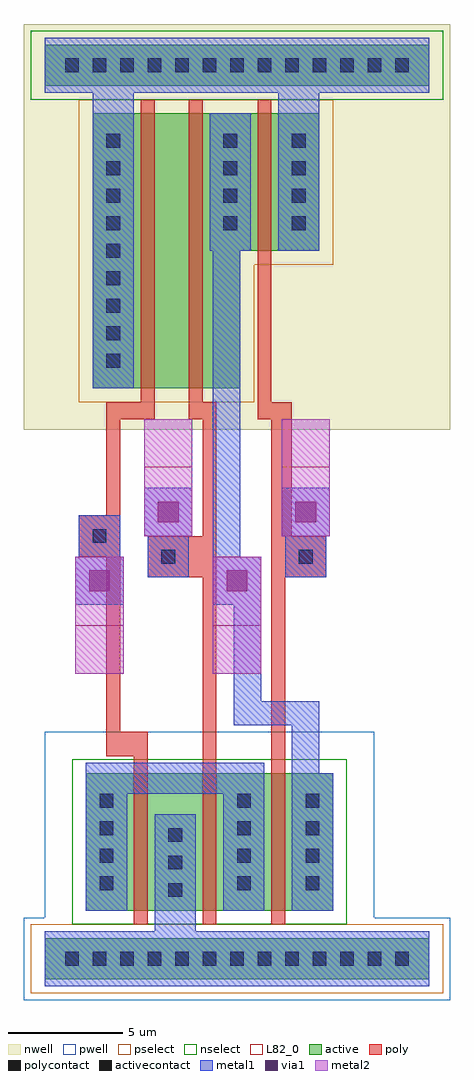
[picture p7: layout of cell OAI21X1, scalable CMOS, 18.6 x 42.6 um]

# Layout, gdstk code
import gdstk
lib = gdstk.Library(unit=1e-6, precision=1e-09)
def R(c, l, rs):  # rectangles x0, y0, x1, y1
    for r in rs: c.add(gdstk.rectangle(r[:2], r[2:], *l))
def A(c, l, x, y, w, h, nx, ny, dx, dy):  # array of equal rectangles
    R(c, l, [(x+i*dx, y+j*dy, x+i*dx+w, y+j*dy+h) for i in range(nx) for j in range(ny)])
pwell = (41, 0)
nwell = (42, 0)
active = (43, 0)
pselect = (44, 0)
nselect = (45, 0)
poly = (46, 0)
polycontact = (47, 0)
activecontact = (48, 0)
metal1 = (49, 0)
via1 = (50, 0)
metal2 = (51, 0)
L82_0 = (82, 0)

oai21x1 = lib.new_cell('OAI21X1')
R(oai21x1, pwell, [(-1.8,-1.8,16.8,1.8), (-0.9,1.8,13.5,9.9)])
R(oai21x1, nwell, [(-1.8,23.1,16.8,40.8)])
R(oai21x1, active, [(-0.9,-0.9,15.9,0.9), (0.9,2.1,11.7,8.1), (1.2,24.9,7.65,30.9), (1.2,30.9,11.1,36.9), (-0.9,38.1,15.9,39.9)])
R(oai21x1, pselect, [(-1.5,-1.5,16.5,1.5), (0.6,24.3,8.25,30.3), (0.6,30.3,11.7,37.5)])
R(oai21x1, nselect, [(0.3,1.5,12.3,8.7), (-1.5,37.5,16.5,40.5)])
R(oai21x1, poly, [(3,1.5,3.6,8.85), (6,1.5,6.6,16.65), (9,1.5,9.6,16.65), (1.8,8.85,3.6,9.9), (1.8,9.9,2.4,17.55), (3.6,16.65,6.6,18.45), (9,16.65,11.4,18.45), (0.6,17.55,2.4,19.35), (6,18.45,6.6,23.55), (9,18.45,9.9,23.55), (1.8,19.35,2.4,23.55), (1.8,23.55,3.9,24.3), (5.4,23.55,6.6,24.3), (8.4,23.55,9.9,24.3), (3.3,24.3,3.9,37.5), (5.4,24.3,6,37.5), (8.4,24.3,9,37.5)])
R(oai21x1, polycontact, [(4.2,17.25,4.8,17.85), (10.2,17.25,10.8,17.85), (1.2,18.15,1.8,18.75)])
A(oai21x1, activecontact, 0, -0.3, 0.6, 0.6, 13, 2, 1.2, 39)
A(oai21x1, activecontact, 4.5, 2.7, 0.6, 0.6, 1, 3, 0, 1.2)
A(oai21x1, activecontact, 1.5, 3, 0.6, 0.6, 1, 4, 0, 1.2)
A(oai21x1, activecontact, 7.5, 3, 0.6, 0.6, 1, 4, 0, 1.2)
A(oai21x1, activecontact, 10.5, 3, 0.6, 0.6, 1, 4, 0, 1.2)
A(oai21x1, activecontact, 1.8, 25.8, 0.6, 0.6, 1, 9, 0, 1.2)
A(oai21x1, activecontact, 6.9, 31.8, 0.6, 0.6, 1, 4, 0, 1.2)
A(oai21x1, activecontact, 9.9, 31.8, 0.6, 0.6, 1, 4, 0, 1.2)
R(oai21x1, metal1, [(-0.9,-1.2,15.9,1.2), (3.9,1.2,5.7,6.3), (0.9,2.1,2.7,7.2), (6.9,2.1,8.7,7.2), (9.9,2.1,11.7,8.1), (0.9,7.2,8.7,8.55), (9.9,8.1,11.1,10.2), (7.35,10.2,11.1,11.25), (7.35,11.25,8.55,15.45), (0.45,15.45,2.55,17.55), (6.45,15.45,8.55,17.55), (3.6,16.65,5.4,18.45), (9.6,16.65,11.4,18.45), (0.6,17.55,2.4,19.35), (6.45,17.55,7.65,30.9), (3.45,18.45,5.55,20.55), (9.45,18.45,11.55,20.55), (1.2,24.9,3,37.8), (6.3,30.9,8.1,36.9), (9.3,30.9,11.1,37.8), (-0.9,37.8,15.9,40.2)])
R(oai21x1, via1, [(1.05,16.05,1.95,16.95), (7.05,16.05,7.95,16.95), (4.05,19.05,4.95,19.95), (10.05,19.05,10.95,19.95)])
R(oai21x1, metal2, [(0.45,12.45,2.55,17.55), (6.45,12.45,8.55,17.55), (3.45,18.45,5.55,23.55), (9.45,18.45,11.55,23.55)])
R(oai21x1, L82_0, [(0.45,12.45,2.55,14.55), (6.45,12.45,8.55,14.55), (3.45,21.45,5.55,23.55), (9.45,21.45,11.55,23.55)])

lib.write_gds('OAI21X1.gds')
